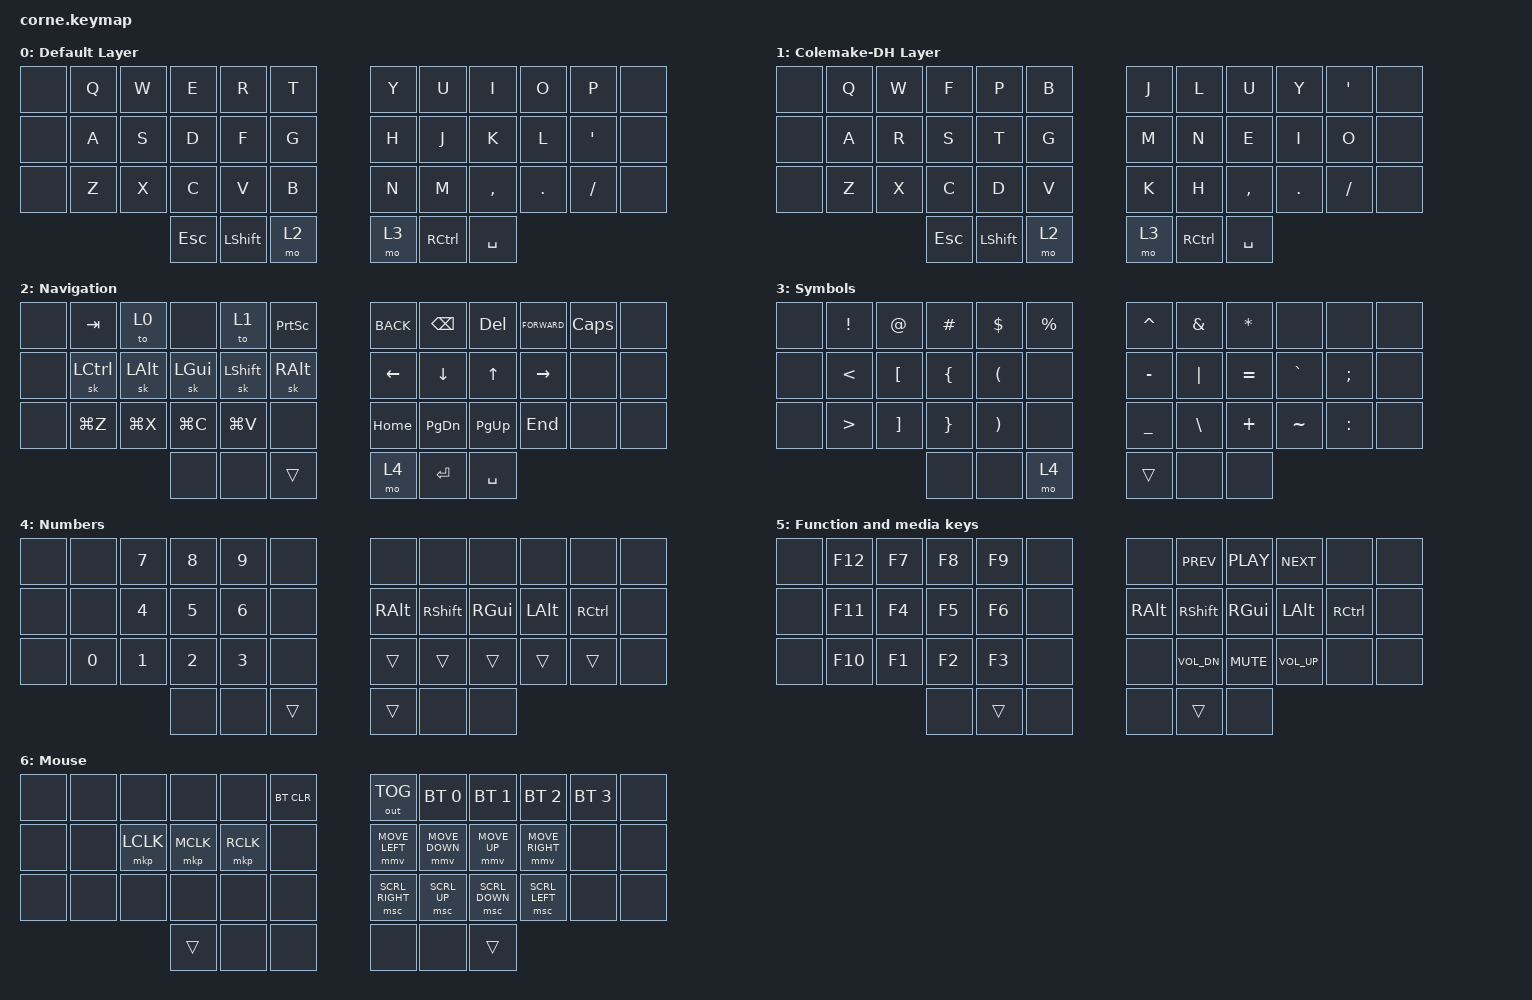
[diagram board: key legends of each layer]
#include <behaviors.dtsi>
#include <dt-bindings/zmk/keys.h>
#include <dt-bindings/zmk/bt.h>
#include <dt-bindings/zmk/pointing.h>
#include <dt-bindings/zmk/outputs.h>

/ {
        keymap {
                compatible = "zmk,keymap";

                default_layer {
                        display-name = "Default Layer";
                        bindings = <
//    ┌───┬───────┬───────┬───────┬─────────┬────────────┐                   ┌───────────┬─────────┬───────────┬─────────┬──────────┬───┐
//    │   │ &kp Q │ &kp W │ &kp E │  &kp R  │   &kp T    │                   │   &kp Y   │  &kp U  │   &kp I   │  &kp O  │  &kp P   │   │
//    ├───┼───────┼───────┼───────┼─────────┼────────────┤                   ├───────────┼─────────┼───────────┼─────────┼──────────┼───┤
//    │   │ &kp A │ &kp S │ &kp D │  &kp F  │   &kp G    │                   │   &kp H   │  &kp J  │   &kp K   │  &kp L  │ &kp SQT  │   │
//    ├───┼───────┼───────┼───────┼─────────┼────────────┤                   ├───────────┼─────────┼───────────┼─────────┼──────────┼───┤
//    │   │ &kp Z │ &kp X │ &kp C │  &kp V  │   &kp B    │                   │   &kp N   │  &kp M  │ &kp COMMA │ &kp DOT │ &kp FSLH │   │
//    └───┴───────┴───────┴───────┼─────────┼────────────┼───────┐   ┌───────┼───────────┼─────────┼───────────┴─────────┴──────────┴───┘
//                                │ &kp ESC │ &kp LSHIFT │ &mo 2 │   │ &mo 3 │ &kp RCTRL │ &kp SPC │
//                                └─────────┴────────────┴───────┘   └───────┴───────────┴─────────┘
  &none   &kp Q   &kp W   &kp E   &kp R     &kp T                            &kp Y       &kp U     &kp I       &kp O     &kp P      &none
  &none   &kp A   &kp S   &kp D   &kp F     &kp G                            &kp H       &kp J     &kp K       &kp L     &kp SQT    &none
  &none   &kp Z   &kp X   &kp C   &kp V     &kp B                            &kp N       &kp M     &kp COMMA   &kp DOT   &kp FSLH   &none
                                  &kp ESC   &kp LSHIFT   &mo 2       &mo 3   &kp RCTRL   &kp SPC
                        >;
                };

                colemake_dh {
                        display-name = "Colemake-DH Layer";
                        bindings = <
//    ┌───┬───────┬───────┬───────┬─────────┬────────────┐                   ┌───────────┬─────────┬───────────┬─────────┬──────────┬───┐
//    │   │ &kp Q │ &kp W │ &kp F │  &kp P  │   &kp B    │                   │   &kp J   │  &kp L  │   &kp U   │  &kp Y  │ &kp SQT  │   │
//    ├───┼───────┼───────┼───────┼─────────┼────────────┤                   ├───────────┼─────────┼───────────┼─────────┼──────────┼───┤
//    │   │ &kp A │ &kp R │ &kp S │  &kp T  │   &kp G    │                   │   &kp M   │  &kp N  │   &kp E   │  &kp I  │  &kp O   │   │
//    ├───┼───────┼───────┼───────┼─────────┼────────────┤                   ├───────────┼─────────┼───────────┼─────────┼──────────┼───┤
//    │   │ &kp Z │ &kp X │ &kp C │  &kp D  │   &kp V    │                   │   &kp K   │  &kp H  │ &kp COMMA │ &kp DOT │ &kp FSLH │   │
//    └───┴───────┴───────┴───────┼─────────┼────────────┼───────┐   ┌───────┼───────────┼─────────┼───────────┴─────────┴──────────┴───┘
//                                │ &kp ESC │ &kp LSHIFT │ &mo 2 │   │ &mo 3 │ &kp RCTRL │ &kp SPC │
//                                └─────────┴────────────┴───────┘   └───────┴───────────┴─────────┘
  &none   &kp Q   &kp W   &kp F   &kp P     &kp B                            &kp J       &kp L     &kp U       &kp Y     &kp SQT    &none
  &none   &kp A   &kp R   &kp S   &kp T     &kp G                            &kp M       &kp N     &kp E       &kp I     &kp O      &none
  &none   &kp Z   &kp X   &kp C   &kp D     &kp V                            &kp K       &kp H     &kp COMMA   &kp DOT   &kp FSLH   &none
                                  &kp ESC   &kp LSHIFT   &mo 2       &mo 3   &kp RCTRL   &kp SPC
                        >;
                };

                navigation {
                        display-name = "Navigation";
                        bindings = <
//    ┌───┬───────────┬───────────┬───────────┬────────────┬─────────────────┐               ┌────────────┬───────────────┬────────────┬───────────────┬──────────────┬───┐
//    │   │  &kp TAB  │   &to 0   │           │   &to 1    │ &kp PRINTSCREEN │               │ &kp K_BACK │ &kp BACKSPACE │ &kp DELETE │ &kp K_FORWARD │ &kp CAPSLOCK │   │
//    ├───┼───────────┼───────────┼───────────┼────────────┼─────────────────┤               ├────────────┼───────────────┼────────────┼───────────────┼──────────────┼───┤
//    │   │ &sk LCTRL │ &sk LALT  │ &sk LGUI  │ &sk LSHIFT │    &sk RALT     │               │  &kp LEFT  │   &kp DOWN    │   &kp UP   │   &kp RIGHT   │              │   │
//    ├───┼───────────┼───────────┼───────────┼────────────┼─────────────────┤               ├────────────┼───────────────┼────────────┼───────────────┼──────────────┼───┤
//    │   │ &kp LG(Z) │ &kp LG(X) │ &kp LG(C) │ &kp LG(V)  │                 │               │  &kp HOME  │   &kp PG_DN   │ &kp PG_UP  │    &kp END    │              │   │
//    └───┴───────────┴───────────┴───────────┼────────────┼─────────────────┼───┐   ┌───────┼────────────┼───────────────┼────────────┴───────────────┴──────────────┴───┘
//                                            │            │                 │ … │   │ &mo 4 │ &kp ENTER  │    &kp SPC    │
//                                            └────────────┴─────────────────┴───┘   └───────┴────────────┴───────────────┘
  &none   &kp TAB     &to 0       &none       &to 1        &kp PRINTSCREEN                        &kp K_BACK   &kp BACKSPACE   &kp DELETE   &kp K_FORWARD   &kp CAPSLOCK   &none
  &none   &sk LCTRL   &sk LALT    &sk LGUI    &sk LSHIFT   &sk RALT                               &kp LEFT     &kp DOWN        &kp UP       &kp RIGHT       &none          &none
  &none   &kp LG(Z)   &kp LG(X)   &kp LG(C)   &kp LG(V)    &none                                  &kp HOME     &kp PG_DN       &kp PG_UP    &kp END         &none          &none
                                              &none        &none             &trans       &mo 4   &kp ENTER    &kp SPC
                        >;
                };

                symbols {
                        display-name = "Symbols";
                        bindings = <
//    ┌───┬──────────────────┬───────────────────┬─────────────────┬───────────────────────┬─────────────┐               ┌───────────┬───────────────┬──────────────┬───────────┬───────────┬───┐
//    │   │ &kp EXCLAMATION  │      &kp AT       │    &kp HASH     │      &kp DOLLAR       │ &kp PERCENT │               │ &kp CARET │ &kp AMPERSAND │ &kp ASTERISK │           │           │   │
//    ├───┼──────────────────┼───────────────────┼─────────────────┼───────────────────────┼─────────────┤               ├───────────┼───────────────┼──────────────┼───────────┼───────────┼───┤
//    │   │  &kp LESS_THAN   │ &kp LEFT_BRACKET  │ &kp LEFT_BRACE  │ &kp LEFT_PARENTHESIS  │             │               │ &kp MINUS │   &kp PIPE    │  &kp EQUAL   │ &kp GRAVE │ &kp SEMI  │   │
//    ├───┼──────────────────┼───────────────────┼─────────────────┼───────────────────────┼─────────────┤               ├───────────┼───────────────┼──────────────┼───────────┼───────────┼───┤
//    │   │ &kp GREATER_THAN │ &kp RIGHT_BRACKET │ &kp RIGHT_BRACE │ &kp RIGHT_PARENTHESIS │             │               │ &kp UNDER │ &kp BACKSLASH │   &kp PLUS   │ &kp TILDE │ &kp COLON │   │
//    └───┴──────────────────┴───────────────────┴─────────────────┼───────────────────────┼─────────────┼───────┐   ┌───┼───────────┼───────────────┼──────────────┴───────────┴───────────┴───┘
//                                                                 │                       │             │ &mo 4 │   │ … │           │               │
//                                                                 └───────────────────────┴─────────────┴───────┘   └───┴───────────┴───────────────┘
  &none   &kp EXCLAMATION    &kp AT              &kp HASH          &kp DOLLAR              &kp PERCENT                        &kp CARET   &kp AMPERSAND   &kp ASTERISK   &none       &none       &none
  &none   &kp LESS_THAN      &kp LEFT_BRACKET    &kp LEFT_BRACE    &kp LEFT_PARENTHESIS    &none                              &kp MINUS   &kp PIPE        &kp EQUAL      &kp GRAVE   &kp SEMI    &none
  &none   &kp GREATER_THAN   &kp RIGHT_BRACKET   &kp RIGHT_BRACE   &kp RIGHT_PARENTHESIS   &none                              &kp UNDER   &kp BACKSLASH   &kp PLUS       &kp TILDE   &kp COLON   &none
                                                                   &none                   &none         &mo 4       &trans   &none       &none
                        >;
                };

                numbers {
                        display-name = "Numbers";
                        bindings = <
//    ┌───┬────────┬────────┬────────┬────────┬───┐           ┌──────────┬────────────┬──────────┬──────────┬───────────┬───┐
//    │   │        │ &kp N7 │ &kp N8 │ &kp N9 │   │           │          │            │          │          │           │   │
//    ├───┼────────┼────────┼────────┼────────┼───┤           ├──────────┼────────────┼──────────┼──────────┼───────────┼───┤
//    │   │        │ &kp N4 │ &kp N5 │ &kp N6 │   │           │ &kp RALT │ &kp RSHIFT │ &kp RGUI │ &kp LALT │ &kp RCTRL │   │
//    ├───┼────────┼────────┼────────┼────────┼───┤           ├──────────┼────────────┼──────────┼──────────┼───────────┼───┤
//    │   │ &kp N0 │ &kp N1 │ &kp N2 │ &kp N3 │   │           │    …     │     …      │    …     │    …     │     …     │   │
//    └───┴────────┴────────┴────────┼────────┼───┼───┐   ┌───┼──────────┼────────────┼──────────┴──────────┴───────────┴───┘
//                                   │        │   │ … │   │ … │          │            │
//                                   └────────┴───┴───┘   └───┴──────────┴────────────┘
  &none   &none    &kp N7   &kp N8   &kp N9   &none                         &none      &none        &none      &none      &none       &none
  &none   &none    &kp N4   &kp N5   &kp N6   &none                         &kp RALT   &kp RSHIFT   &kp RGUI   &kp LALT   &kp RCTRL   &none
  &none   &kp N0   &kp N1   &kp N2   &kp N3   &none                         &trans     &trans       &trans     &trans     &trans      &none
                                     &none    &none   &trans       &trans   &none      &none
                        >;
                };

                function_media {
                        display-name = "Function and media keys";
                        bindings = <
//    ┌───┬─────────┬────────┬────────┬────────┬───┐           ┌──────────┬──────────────┬────────────┬──────────────┬───────────┬───┐
//    │   │ &kp F12 │ &kp F7 │ &kp F8 │ &kp F9 │   │           │          │  &kp C_PREV  │ &kp C_PLAY │  &kp C_NEXT  │           │   │
//    ├───┼─────────┼────────┼────────┼────────┼───┤           ├──────────┼──────────────┼────────────┼──────────────┼───────────┼───┤
//    │   │ &kp F11 │ &kp F4 │ &kp F5 │ &kp F6 │   │           │ &kp RALT │  &kp RSHIFT  │  &kp RGUI  │   &kp LALT   │ &kp RCTRL │   │
//    ├───┼─────────┼────────┼────────┼────────┼───┤           ├──────────┼──────────────┼────────────┼──────────────┼───────────┼───┤
//    │   │ &kp F10 │ &kp F1 │ &kp F2 │ &kp F3 │   │           │          │ &kp C_VOL_DN │ &kp C_MUTE │ &kp C_VOL_UP │           │   │
//    └───┴─────────┴────────┴────────┼────────┼───┼───┐   ┌───┼──────────┼──────────────┼────────────┴──────────────┴───────────┴───┘
//                                    │        │ … │   │   │   │    …     │              │
//                                    └────────┴───┴───┘   └───┴──────────┴──────────────┘
  &none   &kp F12   &kp F7   &kp F8   &kp F9   &none                        &none      &kp C_PREV     &kp C_PLAY   &kp C_NEXT     &none       &none
  &none   &kp F11   &kp F4   &kp F5   &kp F6   &none                        &kp RALT   &kp RSHIFT     &kp RGUI     &kp LALT       &kp RCTRL   &none
  &none   &kp F10   &kp F1   &kp F2   &kp F3   &none                        &none      &kp C_VOL_DN   &kp C_MUTE   &kp C_VOL_UP   &none       &none
                                      &none    &trans   &none       &none   &trans     &none
                        >;
                };

                mouse {
                        display-name = "Mouse";
                        bindings = <
//    ┌───┬───┬───────────┬───────────┬───────────┬────────────┐           ┌─────────────────┬────────────────┬────────────────┬─────────────────┬──────────────┬───┐
//    │   │   │           │           │           │ &bt BT_CLR │           │  &out OUT_TOG   │  &bt BT_SEL 0  │  &bt BT_SEL 1  │  &bt BT_SEL 2   │ &bt BT_SEL 3 │   │
//    ├───┼───┼───────────┼───────────┼───────────┼────────────┤           ├─────────────────┼────────────────┼────────────────┼─────────────────┼──────────────┼───┤
//    │   │   │ &mkp LCLK │ &mkp MCLK │ &mkp RCLK │            │           │ &mmv MOVE_LEFT  │ &mmv MOVE_DOWN │  &mmv MOVE_UP  │ &mmv MOVE_RIGHT │              │   │
//    ├───┼───┼───────────┼───────────┼───────────┼────────────┤           ├─────────────────┼────────────────┼────────────────┼─────────────────┼──────────────┼───┤
//    │   │   │           │           │           │            │           │ &msc SCRL_RIGHT │  &msc SCRL_UP  │ &msc SCRL_DOWN │ &msc SCRL_LEFT  │              │   │
//    └───┴───┴───────────┴───────────┼───────────┼────────────┼───┐   ┌───┼─────────────────┼────────────────┼────────────────┴─────────────────┴──────────────┴───┘
//                                    │     …     │            │   │   │   │                 │       …        │
//                                    └───────────┴────────────┴───┘   └───┴─────────────────┴────────────────┘
  &none   &none   &none       &none       &none       &bt BT_CLR                       &out OUT_TOG      &bt BT_SEL 0     &bt BT_SEL 1     &bt BT_SEL 2      &bt BT_SEL 3   &none
  &none   &none   &mkp LCLK   &mkp MCLK   &mkp RCLK   &none                            &mmv MOVE_LEFT    &mmv MOVE_DOWN   &mmv MOVE_UP     &mmv MOVE_RIGHT   &none          &none
  &none   &none   &none       &none       &none       &none                            &msc SCRL_RIGHT   &msc SCRL_UP     &msc SCRL_DOWN   &msc SCRL_LEFT    &none          &none
                                          &trans      &none        &none       &none   &none             &trans
                        >;
                };

        };
        combos {
                compatible = "zmk,combos";
                fn_media {
                        timeout-ms = <50>;
                        key-positions = <37 40>;
                        bindings = <&mo 5>;
                        layers = <0 1>;
                };
                mouse {
                        timeout-ms = <50>;
                        key-positions = <36 41>;
                        bindings = <&mo 6>;
                        layers = <0 1>;
                };
        };
};
